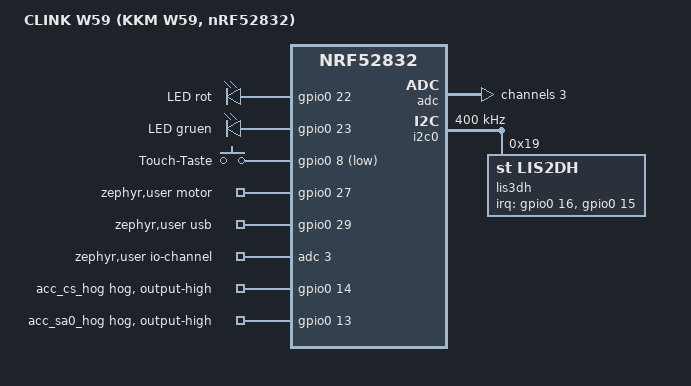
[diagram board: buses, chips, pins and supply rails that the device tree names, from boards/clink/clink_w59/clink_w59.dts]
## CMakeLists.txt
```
cmake_minimum_required(VERSION 3.20.0)

# Board-Definition des CLINK-Armbands (KKM W59) liegt in boards/
list(APPEND BOARD_ROOT ${CMAKE_CURRENT_SOURCE_DIR})

find_package(Zephyr REQUIRED HINTS $ENV{ZEPHYR_BASE})
project(clink_firmware)

target_sources(app PRIVATE
  src/main.c
  src/hw.c
  src/store.c
  src/accel.c
  src/radio.c
  src/gatt.c
  src/clink_logic.c
)
```

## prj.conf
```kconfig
# ---------- Bluetooth ----------
CONFIG_BT=y
CONFIG_BT_PERIPHERAL=y
CONFIG_BT_OBSERVER=y
CONFIG_BT_BROADCASTER=y
CONFIG_BT_MAX_CONN=1
CONFIG_BT_DEVICE_NAME="CLINK"
CONFIG_BT_DEVICE_APPEARANCE=0
# Große Pakete: 15 Begegnungen pro Lesevorgang
CONFIG_BT_L2CAP_TX_MTU=247
CONFIG_BT_BUF_ACL_TX_SIZE=251
CONFIG_BT_BUF_ACL_RX_SIZE=251
CONFIG_BT_CTLR_DATA_LENGTH_MAX=251
CONFIG_BT_USER_DATA_LEN_UPDATE=y
CONFIG_BT_GATT_CLIENT=n
CONFIG_BT_ATT_PREPARE_COUNT=0

# ---------- Bewegungssensor LIS3DH ----------
CONFIG_I2C=y
CONFIG_SENSOR=y
CONFIG_LIS2DH=y
CONFIG_LIS2DH_TRIGGER_OWN_THREAD=y
CONFIG_LIS2DH_ACCEL_RANGE_8G=y
CONFIG_LIS2DH_OPER_MODE_LOW_POWER=y
CONFIG_LIS2DH_ODR_7=y
CONFIG_LIS2DH_ACCEL_HP_FILTERS=y

# ---------- Speicher ----------
CONFIG_FLASH=y
CONFIG_FLASH_MAP=y
CONFIG_FLASH_PAGE_LAYOUT=y
CONFIG_NVS=y
CONFIG_SETTINGS=y
CONFIG_SETTINGS_NVS=y

# ---------- Akku, Zufall, Krypto ----------
CONFIG_ADC=y
CONFIG_ENTROPY_GENERATOR=y
CONFIG_TINYCRYPT=y
CONFIG_TINYCRYPT_SHA256=y
CONFIG_TINYCRYPT_SHA256_HMAC=y

# ---------- System ----------
CONFIG_MAIN_STACK_SIZE=2048
CONFIG_SYSTEM_WORKQUEUE_STACK_SIZE=2048
CONFIG_BT_RX_STACK_SIZE=2048
CONFIG_HEAP_MEM_POOL_SIZE=1024
CONFIG_REBOOT=y
CONFIG_HW_STACK_PROTECTION=y

# Kein UART im Betrieb (spart Strom). Debug-Ausgaben: siehe debug.conf
CONFIG_SERIAL=n
CONFIG_CONSOLE=n
CONFIG_UART_CONSOLE=n
CONFIG_LOG=n
```

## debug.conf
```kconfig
# Zusätzlich zu prj.conf für Test-Builds: Ausgaben über SWD (Segger RTT).
#   west build -b clink_w59 -- -DEXTRA_CONF_FILE=debug.conf
CONFIG_LOG=y
CONFIG_LOG_BACKEND_RTT=y
CONFIG_USE_SEGGER_RTT=y
CONFIG_CONSOLE=y
CONFIG_RTT_CONSOLE=y
CONFIG_ASSERT=y
```

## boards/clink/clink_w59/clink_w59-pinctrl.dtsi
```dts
/* Pinbelegung laut KKM pca10040_W59u.h und Schaltplan K59_52832 V1.3 */

&pinctrl {
	/* LIS3DH über I2C: SCL P0.11, SDA P0.12 */
	i2c0_default: i2c0_default {
		group1 {
			psels = <NRF_PSEL(TWIM_SCL, 0, 11)>,
				<NRF_PSEL(TWIM_SDA, 0, 12)>;
		};
	};

	i2c0_sleep: i2c0_sleep {
		group1 {
			psels = <NRF_PSEL(TWIM_SCL, 0, 11)>,
				<NRF_PSEL(TWIM_SDA, 0, 12)>;
			low-power-enable;
		};
	};

	/* Testpunkte TXD (P0.31) und RXD (P0.30), nur für Debug-Ausgaben */
	uart0_default: uart0_default {
		group1 {
			psels = <NRF_PSEL(UART_TX, 0, 31)>,
				<NRF_PSEL(UART_RX, 0, 30)>;
		};
	};

	uart0_sleep: uart0_sleep {
		group1 {
			psels = <NRF_PSEL(UART_TX, 0, 31)>,
				<NRF_PSEL(UART_RX, 0, 30)>;
			low-power-enable;
		};
	};
};
```

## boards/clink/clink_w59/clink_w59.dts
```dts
/*
 * CLINK-Armband: KKM W59 mit nRF52832-QFAA (512 KB Flash, 64 KB RAM).
 * Quelle: KKM pca10040_W59u.h und Schaltplan K59_52832 V1.3 (2021-02-22).
 *
 * Nicht bestückt (NC laut Schaltplan/Release-Note): SPI-Flash FM25W04, Summer.
 */

/dts-v1/;
#include <nordic/nrf52832_qfaa.dtsi>
#include "clink_w59-pinctrl.dtsi"
#include <zephyr/dt-bindings/input/input-event-codes.h>

/ {
	model = "CLINK W59 (KKM W59, nRF52832)";
	compatible = "clink,w59";

	chosen {
		zephyr,sram = &sram0;
		zephyr,flash = &flash0;
		zephyr,code-partition = &code_partition;
		zephyr,settings-partition = &settings_partition;
	};

	leds {
		compatible = "gpio-leds";
		led_red: led_0 {
			gpios = <&gpio0 22 GPIO_ACTIVE_HIGH>;
			label = "LED rot";
		};
		led_green: led_1 {
			gpios = <&gpio0 23 GPIO_ACTIVE_HIGH>;
			label = "LED gruen";
		};
	};

	buttons {
		compatible = "gpio-keys";
		touch: touch_0 {
			/* Touch-Controller TTP233D, Ausgang aktiv low */
			gpios = <&gpio0 8 (GPIO_PULL_UP | GPIO_ACTIVE_LOW)>;
			label = "Touch-Taste";
			zephyr,code = <INPUT_KEY_0>;
		};
	};

	zephyr,user {
		/* Vibrationsmotor über MOSFET AO3400 */
		motor-gpios = <&gpio0 27 GPIO_ACTIVE_HIGH>;
		/* USB-Ladekontakte erkannt (5 V über Teiler 2,2M/2,2M) */
		usb-gpios = <&gpio0 29 GPIO_ACTIVE_HIGH>;
		/* Akkuspannung über Teiler 2,2M/2,2M an AIN3 (P0.05) */
		io-channels = <&adc 3>;
	};

	aliases {
		led0 = &led_green;
		led1 = &led_red;
		sw0 = &touch;
		accel0 = &lis3dh;
		watchdog0 = &wdt0;
	};
};

&reg {
	regulator-initial-mode = <NRF5X_REG_MODE_DCDC>;
};

&gpiote {
	status = "okay";
};

&gpio0 {
	status = "okay";

	/* LIS3DH: CS (P0.14) high = I2C-Modus, SA0 (P0.13) high = Adresse 0x19 */
	acc_cs_hog {
		gpio-hog;
		gpios = <14 GPIO_ACTIVE_HIGH>;
		output-high;
	};

	acc_sa0_hog {
		gpio-hog;
		gpios = <13 GPIO_ACTIVE_HIGH>;
		output-high;
	};
};

&adc {
	status = "okay";
	#address-cells = <1>;
	#size-cells = <0>;

	channel@3 {
		reg = <3>;
		zephyr,gain = "ADC_GAIN_1_6";
		zephyr,reference = "ADC_REF_INTERNAL";
		/* Hochohmiger Teiler (1,1 MΩ Quellwiderstand): lange Erfassungszeit */
		zephyr,acquisition-time = <ADC_ACQ_TIME(ADC_ACQ_TIME_MICROSECONDS, 40)>;
		zephyr,input-positive = <NRF_SAADC_AIN3>;
		zephyr,resolution = <12>;
		zephyr,oversampling = <4>;
	};
};

&i2c0 {
	compatible = "nordic,nrf-twim";
	status = "okay";
	clock-frequency = <I2C_BITRATE_FAST>;
	pinctrl-0 = <&i2c0_default>;
	pinctrl-1 = <&i2c0_sleep>;
	pinctrl-names = "default", "sleep";

	lis3dh: lis3dh@19 {
		compatible = "st,lis2dh";
		reg = <0x19>;
		/* INT1 = P0.16, INT2 = P0.15 */
		irq-gpios = <&gpio0 16 GPIO_ACTIVE_HIGH>, <&gpio0 15 GPIO_ACTIVE_HIGH>;
		disconnect-sdo-sa0-pull-up;
	};
};

&uart0 {
	compatible = "nordic,nrf-uarte";
	status = "disabled";
	current-speed = <115200>;
	pinctrl-0 = <&uart0_default>;
	pinctrl-1 = <&uart0_sleep>;
	pinctrl-names = "default", "sleep";
};

&flash0 {
	partitions {
		compatible = "fixed-partitions";
		#address-cells = <1>;
		#size-cells = <1>;

		/*
		 * Pilot: Firmware ab Adresse 0, ohne Bootloader (Flashen per SWD).
		 * Für Updates per Bluetooth (MCUboot) wird code_partition später
		 * in mcuboot + image-0 + image-1 aufgeteilt; settings und log bleiben.
		 */
		code_partition: partition@0 {
			label = "code";
			reg = <0x00000000 0x0007a000>;
		};

		settings_partition: partition@7a000 {
			label = "settings";
			reg = <0x0007a000 0x00002000>;
		};

		/* Begegnungen: 16 KB = 1024 Einträge à 16 Byte */
		log_partition: partition@7c000 {
			label = "encounters";
			reg = <0x0007c000 0x00004000>;
		};
	};
};
```

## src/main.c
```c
/*
 * CLINK-Armband – Firmware für den KKM W59 (nRF52832).
 *
 * Ablauf:
 *   Tanzfläche: Stoß spüren → per Bluetooth melden und zuhören → passt ein
 *   gleichzeitiger Stoß eines nahen Bandes, Begegnung speichern und vibrieren.
 *   Ladekontakte: keine Begegnungen, Band wartet aufs Auslesen.
 */
#include <zephyr/kernel.h>
#include <zephyr/bluetooth/bluetooth.h>
#include <zephyr/logging/log.h>

#include "accel.h"
#include "clink_logic.h"
#include "gatt.h"
#include "hw.h"
#include "radio.h"
#include "store.h"
#include "version.h"

LOG_MODULE_REGISTER(main, LOG_LEVEL_INF);

#define LOW_BATT_PCT 15

static struct cl_state logic;
static K_MUTEX_DEFINE(logic_lock);
static bool charging;
static bool connected;

/* ---------- Begegnungen speichern (außerhalb des Bluetooth-Threads) ---------- */

struct encounter {
	uint32_t peer;
	uint8_t kind;
	int8_t rssi;
	int64_t at_ms;
};

K_MSGQ_DEFINE(encounter_q, sizeof(struct encounter), 16, 4);

static void save_work_fn(struct k_work *w)
{
	struct encounter e;

	ARG_UNUSED(w);
	while (k_msgq_get(&encounter_q, &e, K_NO_WAIT) == 0) {
		struct clink_record r = {
			.peer_id = e.peer,
			.t_s = (uint32_t)(e.at_ms / 1000),
			.boot = store_cfg()->boot,
			.kind = e.kind,
			.rssi = e.rssi,
			.mark = CLINK_RECORD_MARK,
		};
		int err = store_log_append(&r);

		LOG_INF("Begegnung mit %u (%s, %d dBm)%s", e.peer, e.kind == CLINK_KIND_CLINK ? "Clink" : "Tanz",
			e.rssi, err ? " – NICHT gespeichert" : "");
		hw_signal(HW_CLINK);
	}
}
static K_WORK_DEFINE(save_work, save_work_fn);

/* Aufruf aus der Logik, Mutex ist gehalten. */
static void on_encounter(uint32_t peer, uint8_t kind, int8_t rssi, void *user)
{
	struct encounter e = {.peer = peer, .kind = kind, .rssi = rssi, .at_ms = k_uptime_get()};

	ARG_UNUSED(user);
	if (k_msgq_put(&encounter_q, &e, K_NO_WAIT) == 0) {
		k_work_submit(&save_work);
	}
}

/* ---------- Ereignisse ---------- */

static void on_shock(int64_t at_ms)
{
	if (charging || !store_provisioned()) {
		return;
	}
	k_mutex_lock(&logic_lock, K_FOREVER);
	cl_on_own_shock(&logic, at_ms);
	k_mutex_unlock(&logic_lock);
	radio_shock(at_ms);
}

static void on_adv(int64_t now_ms, const struct clink_adv *adv, int8_t rssi)
{
	if (charging || !store_provisioned()) {
		return;
	}
	k_mutex_lock(&logic_lock, K_FOREVER);
	cl_on_adv(&logic, now_ms, adv, rssi);
	k_mutex_unlock(&logic_lock);
}

static void on_touch(void)
{
	int mv = hw_battery_mv();

	if (!store_provisioned()) {
		hw_signal(HW_NOT_READY);
	} else if (mv > 0 && hw_battery_pct(mv) < LOW_BATT_PCT) {
		hw_signal(HW_LOW_BATT);
	} else {
		hw_signal(HW_OK);
	}
}

static void apply_mode(void)
{
	accel_enable(!charging);
	if (!connected) {
		radio_set_mode(charging ? RADIO_CHARGING : RADIO_NIGHT);
	}
}

static void on_usb(bool present)
{
	charging = present;
	LOG_INF("%s", present ? "An den Ladekontakten" : "Vom Ladegerät genommen");
	apply_mode();
}

/* ---------- Auslesen ---------- */

static void on_provisioned(uint32_t band_id)
{
	k_mutex_lock(&logic_lock, K_FOREVER);
	logic.self_id = band_id;
	k_mutex_unlock(&logic_lock);
	radio_set_band_id(band_id);
	hw_signal(HW_OK);
}

static void on_params(const struct clink_params *p)
{
	k_mutex_lock(&logic_lock, K_FOREVER);
	cl_set_params(&logic, p);
	k_mutex_unlock(&logic_lock);
	accel_set_threshold(p->shock_mg);
}

static void on_cleared(void)
{
	k_mutex_lock(&logic_lock, K_FOREVER);
	cl_forget_all(&logic);
	k_mutex_unlock(&logic_lock);
	hw_signal(HW_DONE);
}

static void on_connected(void)
{
	connected = true;
}

static void on_disconnected(void)
{
	connected = false;
	radio_resume();
	apply_mode();
}

static const struct gatt_cbs gatt_callbacks = {
	.provisioned = on_provisioned,
	.params_changed = on_params,
	.cleared = on_cleared,
	.connected = on_connected,
	.disconnected = on_disconnected,
};

/* ---------- Start ---------- */

static void load_met(void)
{
	struct clink_record r;

	for (uint16_t i = 0; i < store_log_count(); i++) {
		if (store_log_read(i, &r) == 0) {
			cl_mark_met(&logic, r.peer_id);
		}
	}
}

int main(void)
{
	int err;

	LOG_INF("CLINK Firmware %d.%d.%d", FW_MAJOR, FW_MINOR, FW_PATCH);

	err = hw_init(on_touch, on_usb);
	if (err) {
		LOG_ERR("Hardware: %d", err);
	}
	err = store_init();
	if (err) {
		LOG_ERR("Speicher: %d", err);
	}

	const struct store_cfg *cfg = store_cfg();

	cl_init(&logic, cfg->band_id, &cfg->params, on_encounter, NULL);
	load_met();

	err = bt_enable(NULL);
	if (err) {
		LOG_ERR("Bluetooth: %d", err);
		hw_signal(HW_LOW_BATT);
		return 0;
	}
	gatt_init(&gatt_callbacks);
	radio_init(on_adv);
	radio_set_band_id(cfg->band_id);

	err = accel_init(on_shock);
	if (err) {
		LOG_ERR("Bewegungssensor: %d", err);
	} else {
		accel_set_threshold(cfg->params.shock_mg);
	}

	charging = hw_usb_present();
	apply_mode();
	hw_signal(store_provisioned() ? HW_BOOT : HW_NOT_READY);
	return 0;
}

/* Bei einem schweren Fehler neu starten statt stehen zu bleiben (Debug-Builds: anhalten). */
#include <zephyr/fatal.h>
#include <zephyr/sys/reboot.h>
#include <zephyr/logging/log_ctrl.h>

void k_sys_fatal_error_handler(unsigned int reason, const struct arch_esf *esf)
{
	ARG_UNUSED(esf);
#ifdef CONFIG_LOG
	LOG_PANIC();
#endif
	LOG_ERR("Schwerer Fehler %u, Neustart", reason);
#ifdef CONFIG_ASSERT
	k_fatal_halt(reason);
#else
	sys_reboot(SYS_REBOOT_COLD);
#endif
	CODE_UNREACHABLE;
}
```

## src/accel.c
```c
#include "accel.h"

#include <zephyr/kernel.h>
#include <zephyr/device.h>
#include <zephyr/drivers/sensor.h>
#include <zephyr/logging/log.h>

LOG_MODULE_REGISTER(accel, LOG_LEVEL_INF);

/* CTRL_REG2: Hochpassfilter für die Click-Erkennung, damit die Schwerkraft nicht mitzählt. */
#define LIS3DH_HPCLICK BIT(2)
/* Ein Stoß ist kurz: höchstens 10 Messwerte bei 400 Hz = 25 ms über der Schwelle. */
#define CLICK_TIME_LIMIT_SAMPLES 10

static const struct device *const acc = DEVICE_DT_GET(DT_ALIAS(accel0));
static void (*shock_cb)(int64_t uptime_ms);
static bool enabled;

static const struct sensor_trigger tap_trig = {
	.type = SENSOR_TRIG_TAP,
	.chan = SENSOR_CHAN_ACCEL_XYZ,
};

static void on_tap(const struct device *dev, const struct sensor_trigger *trig)
{
	ARG_UNUSED(dev);
	ARG_UNUSED(trig);
	if (enabled && shock_cb) {
		shock_cb(k_uptime_get());
	}
}

int accel_set_threshold(uint16_t shock_mg)
{
	struct sensor_value th;

	/* Schwelle in m/s² (1 g = 9,80665 m/s²) */
	sensor_g_to_ms2((int32_t)shock_mg * 1000, &th);
	return sensor_attr_set(acc, SENSOR_CHAN_ACCEL_XYZ, SENSOR_ATTR_SLOPE_TH, &th);
}

void accel_enable(bool on)
{
	enabled = on;
}

int accel_init(void (*on_shock)(int64_t uptime_ms))
{
	struct sensor_value v;
	int err;

	shock_cb = on_shock;
	if (!device_is_ready(acc)) {
		LOG_ERR("LIS3DH nicht bereit");
		return -ENODEV;
	}

	v.val1 = LIS3DH_HPCLICK;
	v.val2 = 0;
	err = sensor_attr_set(acc, SENSOR_CHAN_ACCEL_XYZ, SENSOR_ATTR_CONFIGURATION, &v);
	if (err) {
		LOG_WRN("Hochpassfilter: %d", err);
	}

	v.val1 = CLICK_TIME_LIMIT_SAMPLES;
	v.val2 = 0;
	err = sensor_attr_set(acc, SENSOR_CHAN_ACCEL_XYZ, SENSOR_ATTR_SLOPE_DUR, &v);
	if (err) {
		LOG_WRN("Click-Dauer: %d", err);
	}

	err = sensor_trigger_set(acc, &tap_trig, on_tap);
	if (err) {
		LOG_ERR("Click-Interrupt: %d", err);
		return err;
	}
	enabled = true;
	return 0;
}
```

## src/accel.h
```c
/* Stoßerkennung mit dem LIS3DH (Click-Interrupt im Sensor, Chip schläft dazwischen). */
#ifndef CLINK_ACCEL_H
#define CLINK_ACCEL_H

#include <stdbool.h>
#include <stdint.h>

int accel_init(void (*on_shock)(int64_t uptime_ms));
int accel_set_threshold(uint16_t shock_mg);
void accel_enable(bool on);

#endif
```

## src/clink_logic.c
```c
#include "clink_logic.h"

#include <string.h>

static int64_t abs64(int64_t v)
{
	return v < 0 ? -v : v;
}

void cl_init(struct cl_state *s, uint32_t self_id, const struct clink_params *p, cl_encounter_cb cb,
	     void *user)
{
	memset(s, 0, sizeof(*s));
	s->self_id = self_id;
	s->p = *p;
	s->cb = cb;
	s->user = user;
}

void cl_set_params(struct cl_state *s, const struct clink_params *p)
{
	s->p = *p;
	if (s->p.dance_window_s > 64) {
		s->p.dance_window_s = 64;
	}
}

bool cl_has_met(const struct cl_state *s, uint32_t peer_id)
{
	for (uint16_t i = 0; i < s->met_count; i++) {
		if (s->met[i] == peer_id) {
			return true;
		}
	}
	return false;
}

void cl_mark_met(struct cl_state *s, uint32_t peer_id)
{
	if (cl_has_met(s, peer_id) || s->met_count >= CL_MAX_MET) {
		return;
	}
	s->met[s->met_count++] = peer_id;
}

void cl_forget_all(struct cl_state *s)
{
	s->met_count = 0;
	for (int i = 0; i < CL_MAX_PEERS; i++) {
		s->peers[i].dance_mask = 0;
	}
}

static void report(struct cl_state *s, uint32_t peer_id, uint8_t kind, int8_t rssi)
{
	/* Pro Paar nur einmal speichern und nur beim ersten Mal vibrieren. */
	if (cl_has_met(s, peer_id) || s->met_count >= CL_MAX_MET) {
		return;
	}
	cl_mark_met(s, peer_id);
	if (s->cb) {
		s->cb(peer_id, kind, rssi, s->user);
	}
}

/* Gibt den Eintrag für peer_id zurück oder ersetzt den am längsten nicht gesehenen. */
static struct cl_peer *peer_slot(struct cl_state *s, uint32_t peer_id)
{
	struct cl_peer *oldest = &s->peers[0];

	for (int i = 0; i < CL_MAX_PEERS; i++) {
		struct cl_peer *p = &s->peers[i];

		if (p->id == peer_id) {
			return p;
		}
		if (p->last_seen_ms < oldest->last_seen_ms) {
			oldest = p;
		}
	}
	memset(oldest, 0, sizeof(*oldest));
	oldest->id = peer_id;
	return oldest;
}

static bool shocks_match(const struct cl_state *s, int64_t own_ms, const struct cl_peer *p)
{
	if (own_ms == 0 || p->shock_ms == 0) {
		return false;
	}
	if (abs64(p->shock_ms - own_ms) > (int64_t)s->p.window_ms + CL_ADV_JITTER_MS) {
		return false;
	}
	return p->shock_rssi >= s->p.clink_rssi;
}

void cl_on_own_shock(struct cl_state *s, int64_t now_ms)
{
	s->own_shock_ms = now_ms;

	/* Das andere Band kann seinen Stoß schon vor unserem gemeldet haben. */
	for (int i = 0; i < CL_MAX_PEERS; i++) {
		struct cl_peer *p = &s->peers[i];

		if (p->id != 0 && now_ms - p->shock_ms <= CL_SHOCK_MEMORY_MS && shocks_match(s, now_ms, p)) {
			report(s, p->id, CLINK_KIND_CLINK, p->shock_rssi);
		}
	}
}

static void on_dance_sample(struct cl_state *s, struct cl_peer *p, int64_t now_ms, int8_t rssi)
{
	if (!s->p.dance_enabled || s->p.dance_samples == 0 || s->p.dance_window_s == 0) {
		return;
	}

	int64_t sec = now_ms / 1000;
	int64_t shift = sec - p->dance_sec;

	if (shift >= 64 || shift < 0) {
		p->dance_mask = 0;
	} else if (shift > 0) {
		p->dance_mask <<= shift;
	}
	p->dance_sec = sec;

	if (rssi < s->p.dance_rssi) {
		return;
	}
	p->dance_mask |= 1;

	uint64_t window = s->p.dance_window_s >= 64 ? UINT64_MAX : ((1ULL << s->p.dance_window_s) - 1);

	if (__builtin_popcountll(p->dance_mask & window) >= s->p.dance_samples) {
		report(s, p->id, CLINK_KIND_DANCE, rssi);
	}
}

void cl_on_adv(struct cl_state *s, int64_t now_ms, const struct clink_adv *adv, int8_t rssi)
{
	if (adv->magic[0] != CLINK_MAGIC0 || adv->magic[1] != CLINK_MAGIC1 ||
	    adv->version != CLINK_PROTO_VERSION || adv->band_id == 0 || adv->band_id == s->self_id) {
		return;
	}
	/* Bänder an der Ladestation zählen nicht. */
	if (adv->flags & CLINK_ADV_FLAG_CHARGING) {
		return;
	}

	struct cl_peer *p = peer_slot(s, adv->band_id);

	p->last_seen_ms = now_ms;

	if ((adv->flags & CLINK_ADV_FLAG_SHOCK) && adv->shock_age_ms != CLINK_NO_SHOCK) {
		int64_t shock_ms = now_ms - adv->shock_age_ms;

		/* Neuer Stoß (neue Nummer oder alter Stoß längst vorbei): Höchstwert neu messen. */
		if (adv->shock_seq != p->shock_seq || p->shock_ms == 0 ||
		    abs64(shock_ms - p->shock_ms) > CL_SHOCK_MEMORY_MS) {
			p->shock_seq = adv->shock_seq;
			p->shock_ms = shock_ms;
			p->shock_rssi = rssi;
		} else if (rssi > p->shock_rssi) {
			p->shock_rssi = rssi;
		}

		if (shocks_match(s, s->own_shock_ms, p)) {
			report(s, p->id, CLINK_KIND_CLINK, p->shock_rssi);
		}
	}

	on_dance_sample(s, p, now_ms, rssi);
}
```

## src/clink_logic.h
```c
/*
 * Erkennungslogik ohne Hardware-Abhängigkeit (auf dem PC testbar, siehe test/).
 *
 * Anstoßen: Beide Bänder spüren einen Stoß, senden das sofort per Bluetooth
 * und hören gleichzeitig zu. Eine Begegnung zählt, wenn
 *   1. beide Stöße höchstens window_ms auseinander liegen und
 *   2. das andere Band dabei sehr nah war (RSSI >= clink_rssi).
 * Paartanz: Das andere Band war in dance_samples der letzten dance_window_s
 * Sekunden sehr nah (RSSI >= dance_rssi).
 * Pro Paar wird nur die erste Begegnung gemeldet.
 */
#ifndef CLINK_LOGIC_H
#define CLINK_LOGIC_H

#include <stdbool.h>
#include <stdint.h>
#include "proto.h"

#define CL_MAX_PEERS 32  /* gleichzeitig verfolgte Bänder in Reichweite */
#define CL_MAX_MET 512   /* gemerkte Begegnungen pro Abend */
#define CL_SHOCK_MEMORY_MS 1000
#define CL_ADV_JITTER_MS 25 /* Ungenauigkeit des Alters durch das Sendeintervall */

typedef void (*cl_encounter_cb)(uint32_t peer_id, uint8_t kind, int8_t rssi, void *user);

struct cl_peer {
	uint32_t id;
	int64_t last_seen_ms;
	/* Stoß des Gegenübers */
	int64_t shock_ms; /* geschätzter Zeitpunkt, 0 = keiner */
	uint8_t shock_seq;
	int8_t shock_rssi;
	/* Paartanz: Bit i = Nähe in Sekunde (dance_sec - i) */
	uint64_t dance_mask;
	int64_t dance_sec;
};

struct cl_state {
	struct clink_params p;
	uint32_t self_id;
	int64_t own_shock_ms; /* 0 = keiner */
	struct cl_peer peers[CL_MAX_PEERS];
	uint32_t met[CL_MAX_MET];
	uint16_t met_count;
	cl_encounter_cb cb;
	void *user;
};

void cl_init(struct cl_state *s, uint32_t self_id, const struct clink_params *p, cl_encounter_cb cb,
	     void *user);
void cl_set_params(struct cl_state *s, const struct clink_params *p);

/* Bereits gespeicherte Begegnungen beim Start einlesen bzw. nach dem Auslesen vergessen. */
void cl_mark_met(struct cl_state *s, uint32_t peer_id);
bool cl_has_met(const struct cl_state *s, uint32_t peer_id);
void cl_forget_all(struct cl_state *s);

/* Eigener Stoß zum Zeitpunkt now_ms (Uptime). */
void cl_on_own_shock(struct cl_state *s, int64_t now_ms);

/* Advertising eines anderen Bandes empfangen. */
void cl_on_adv(struct cl_state *s, int64_t now_ms, const struct clink_adv *adv, int8_t rssi);

#endif /* CLINK_LOGIC_H */
```

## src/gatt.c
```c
#include "gatt.h"

#include <string.h>
#include <zephyr/kernel.h>
#include <zephyr/bluetooth/bluetooth.h>
#include <zephyr/bluetooth/conn.h>
#include <zephyr/bluetooth/gatt.h>
#include <zephyr/bluetooth/uuid.h>
#include <zephyr/logging/log.h>
#include <zephyr/random/random.h>
#include <zephyr/sys/byteorder.h>
#include <tinycrypt/constants.h>
#include <tinycrypt/hmac.h>
#include <tinycrypt/utils.h>

#include "hw.h"
#include "store.h"
#include "version.h"

LOG_MODULE_REGISTER(gatt, LOG_LEVEL_INF);

/* Wer sich nicht innerhalb dieser Zeit anmeldet, wird getrennt (sonst blockiert er das Band). */
#define AUTH_TIMEOUT_S 20

static const struct gatt_cbs *cbs;
static struct bt_conn *current;
static uint8_t nonce[16];
static bool authed;
static uint16_t cursor;

static void auth_timeout_fn(struct k_work *w)
{
	ARG_UNUSED(w);
	if (current && !authed) {
		LOG_INF("Keine Anmeldung, trenne");
		bt_conn_disconnect(current, BT_HCI_ERR_REMOTE_USER_TERM_CONN);
	}
}
static K_WORK_DELAYABLE_DEFINE(auth_timeout, auth_timeout_fn);

/* ---------- Anmeldung: HMAC-SHA256(key, "CLINK-AUTH" | nonce | band_id) ---------- */

static bool check_auth(const uint8_t *mac, size_t len)
{
	const struct store_cfg *c = store_cfg();
	struct tc_hmac_state_struct h;
	uint8_t expected[TC_SHA256_DIGEST_SIZE];
	uint8_t id_le[4];

	if (len != sizeof(expected) || !store_provisioned()) {
		return false;
	}
	sys_put_le32(c->band_id, id_le);
	if (tc_hmac_set_key(&h, c->key, sizeof(c->key)) != TC_CRYPTO_SUCCESS ||
	    tc_hmac_init(&h) != TC_CRYPTO_SUCCESS ||
	    tc_hmac_update(&h, CLINK_AUTH_LABEL, strlen(CLINK_AUTH_LABEL)) != TC_CRYPTO_SUCCESS ||
	    tc_hmac_update(&h, nonce, sizeof(nonce)) != TC_CRYPTO_SUCCESS ||
	    tc_hmac_update(&h, id_le, sizeof(id_le)) != TC_CRYPTO_SUCCESS ||
	    tc_hmac_final(expected, sizeof(expected), &h) != TC_CRYPTO_SUCCESS) {
		return false;
	}
	return _compare(expected, mac, sizeof(expected)) == 0;
}

/* ---------- Characteristics ---------- */

static ssize_t read_info(struct bt_conn *conn, const struct bt_gatt_attr *attr, void *buf, uint16_t len,
			 uint16_t offset)
{
	const struct store_cfg *c = store_cfg();
	int mv = hw_battery_mv();
	struct clink_info info = {
		.proto = CLINK_PROTO_VERSION,
		.flags = (store_provisioned() ? CLINK_INFO_FLAG_PROVISIONED : 0) |
			 (authed ? CLINK_INFO_FLAG_AUTHED : 0) |
			 (hw_usb_present() ? CLINK_INFO_FLAG_CHARGING : 0),
		.fw = {FW_MAJOR, FW_MINOR, FW_PATCH},
		.battery_pct = mv > 0 ? hw_battery_pct(mv) : 0,
		.battery_mv = sys_cpu_to_le16(mv > 0 ? mv : 0),
		.band_id = sys_cpu_to_le32(c->band_id),
		.boot = sys_cpu_to_le16(c->boot),
		.uptime_s = sys_cpu_to_le32((uint32_t)(k_uptime_get() / 1000)),
		.record_count = sys_cpu_to_le16(store_log_count()),
	};

	memcpy(info.nonce, nonce, sizeof(nonce));
	return bt_gatt_attr_read(conn, attr, buf, len, offset, &info, sizeof(info));
}

static ssize_t read_params(struct bt_conn *conn, const struct bt_gatt_attr *attr, void *buf, uint16_t len,
			   uint16_t offset)
{
	struct clink_params p = store_cfg()->params;

	p.shock_mg = sys_cpu_to_le16(p.shock_mg);
	p.window_ms = sys_cpu_to_le16(p.window_ms);
	return bt_gatt_attr_read(conn, attr, buf, len, offset, &p, sizeof(p));
}

static ssize_t read_records(struct bt_conn *conn, const struct bt_gatt_attr *attr, void *buf,
			    uint16_t len, uint16_t offset)
{
	struct clink_record recs[CLINK_RECORDS_PER_READ];
	size_t n = 0;

	if (!authed) {
		return BT_GATT_ERR(BT_ATT_ERR_AUTHORIZATION);
	}
	/*
	 * Unvollständige Einträge werden mit peer_id 0 geliefert, damit die
	 * Position stimmt; die Website überspringt sie.
	 */
	for (uint16_t i = cursor; i < store_log_count() && n < ARRAY_SIZE(recs); i++, n++) {
		if (store_log_read(i, &recs[n]) != 0) {
			memset(&recs[n], 0, sizeof(recs[n]));
		}
	}
	return bt_gatt_attr_read(conn, attr, buf, len, offset, recs, n * sizeof(recs[0]));
}

static ssize_t write_control(struct bt_conn *conn, const struct bt_gatt_attr *attr, const void *buf,
			     uint16_t len, uint16_t offset, uint8_t flags)
{
	const uint8_t *d = buf;

	if (offset != 0 || len < 1) {
		return BT_GATT_ERR(BT_ATT_ERR_INVALID_ATTRIBUTE_LEN);
	}

	switch (d[0]) {
	case CLINK_CMD_AUTH:
		authed = check_auth(d + 1, len - 1);
		if (!authed) {
			LOG_WRN("Anmeldung fehlgeschlagen");
			return BT_GATT_ERR(BT_ATT_ERR_AUTHORIZATION);
		}
		k_work_cancel_delayable(&auth_timeout);
		return len;

	case CLINK_CMD_PROVISION: {
		/* Neues Band: ohne Anmeldung. Eingerichtetes Band: nur angemeldet (Neuvergabe). */
		if (store_provisioned() && !authed) {
			return BT_GATT_ERR(BT_ATT_ERR_AUTHORIZATION);
		}
		if (len != 1 + 4 + CLINK_KEY_LEN) {
			return BT_GATT_ERR(BT_ATT_ERR_INVALID_ATTRIBUTE_LEN);
		}
		uint32_t id = sys_get_le32(d + 1);

		if (id == 0 || store_provision(id, d + 5)) {
			return BT_GATT_ERR(BT_ATT_ERR_UNLIKELY);
		}
		authed = true;
		k_work_cancel_delayable(&auth_timeout);
		if (cbs && cbs->provisioned) {
			cbs->provisioned(id);
		}
		return len;
	}
	}

	/* Alle weiteren Befehle nur nach Anmeldung. */
	if (!authed) {
		return BT_GATT_ERR(BT_ATT_ERR_AUTHORIZATION);
	}

	switch (d[0]) {
	case CLINK_CMD_CURSOR:
		if (len != 3) {
			return BT_GATT_ERR(BT_ATT_ERR_INVALID_ATTRIBUTE_LEN);
		}
		cursor = sys_get_le16(d + 1);
		return len;

	case CLINK_CMD_CLEAR:
		/* Nur löschen, was die Website auch gelesen hat. */
		if (len != 3 || sys_get_le16(d + 1) != store_log_count()) {
			return BT_GATT_ERR(BT_ATT_ERR_VALUE_NOT_ALLOWED);
		}
		if (store_log_clear()) {
			return BT_GATT_ERR(BT_ATT_ERR_UNLIKELY);
		}
		cursor = 0;
		if (cbs && cbs->cleared) {
			cbs->cleared();
		}
		return len;

	case CLINK_CMD_PARAMS: {
		struct clink_params p;

		if (len != 1 + sizeof(p)) {
			return BT_GATT_ERR(BT_ATT_ERR_INVALID_ATTRIBUTE_LEN);
		}
		memcpy(&p, d + 1, sizeof(p));
		p.shock_mg = sys_le16_to_cpu(p.shock_mg);
		p.window_ms = sys_le16_to_cpu(p.window_ms);
		if (p.shock_mg < 100 || p.shock_mg > 16000 || p.window_ms < 10 || p.window_ms > 2000 ||
		    p.dance_window_s > 64 || p.dance_samples > p.dance_window_s) {
			return BT_GATT_ERR(BT_ATT_ERR_VALUE_NOT_ALLOWED);
		}
		if (store_set_params(&p)) {
			return BT_GATT_ERR(BT_ATT_ERR_UNLIKELY);
		}
		if (cbs && cbs->params_changed) {
			cbs->params_changed(&p);
		}
		return len;
	}

	case CLINK_CMD_BUZZ:
		hw_signal(HW_BUZZ);
		return len;
	}

	return BT_GATT_ERR(BT_ATT_ERR_NOT_SUPPORTED);
}

BT_GATT_SERVICE_DEFINE(clink_svc,
	BT_GATT_PRIMARY_SERVICE(BT_UUID_DECLARE_128(CLINK_UUID_SERVICE)),
	BT_GATT_CHARACTERISTIC(BT_UUID_DECLARE_128(CLINK_UUID_INFO), BT_GATT_CHRC_READ,
			       BT_GATT_PERM_READ, read_info, NULL, NULL),
	BT_GATT_CHARACTERISTIC(BT_UUID_DECLARE_128(CLINK_UUID_CONTROL), BT_GATT_CHRC_WRITE,
			       BT_GATT_PERM_WRITE, NULL, write_control, NULL),
	BT_GATT_CHARACTERISTIC(BT_UUID_DECLARE_128(CLINK_UUID_RECORDS), BT_GATT_CHRC_READ,
			       BT_GATT_PERM_READ, read_records, NULL, NULL),
	BT_GATT_CHARACTERISTIC(BT_UUID_DECLARE_128(CLINK_UUID_PARAMS), BT_GATT_CHRC_READ,
			       BT_GATT_PERM_READ, read_params, NULL, NULL),
);

/* ---------- Verbindung ---------- */

static void on_connected(struct bt_conn *conn, uint8_t err)
{
	if (err) {
		return;
	}
	if (current) {
		bt_conn_disconnect(conn, BT_HCI_ERR_CONN_LIMIT_EXCEEDED);
		return;
	}
	current = bt_conn_ref(conn);
	authed = false;
	cursor = 0;
	sys_csrand_get(nonce, sizeof(nonce));
	k_work_reschedule(&auth_timeout, K_SECONDS(AUTH_TIMEOUT_S));
	if (cbs && cbs->connected) {
		cbs->connected();
	}
}

static void on_disconnected(struct bt_conn *conn, uint8_t reason)
{
	if (conn != current) {
		return;
	}
	bt_conn_unref(current);
	current = NULL;
	authed = false;
	k_work_cancel_delayable(&auth_timeout);
	if (cbs && cbs->disconnected) {
		cbs->disconnected();
	}
}

BT_CONN_CB_DEFINE(conn_cbs) = {
	.connected = on_connected,
	.disconnected = on_disconnected,
};

int gatt_init(const struct gatt_cbs *c)
{
	cbs = c;
	return 0;
}
```

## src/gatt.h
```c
/* Auslesen am Ausgang: GATT-Dienst für die Admin-Seite (Web Bluetooth). */
#ifndef CLINK_GATT_H
#define CLINK_GATT_H

#include <stdint.h>
#include "proto.h"

struct gatt_cbs {
	void (*provisioned)(uint32_t band_id);
	void (*params_changed)(const struct clink_params *p);
	void (*cleared)(void);
	void (*connected)(void);
	void (*disconnected)(void);
};

int gatt_init(const struct gatt_cbs *cbs);

#endif
```

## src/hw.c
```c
#include "hw.h"

#include <zephyr/kernel.h>
#include <zephyr/device.h>
#include <zephyr/drivers/adc.h>
#include <zephyr/drivers/gpio.h>
#include <zephyr/logging/log.h>

LOG_MODULE_REGISTER(hw, LOG_LEVEL_INF);

#define USER_NODE DT_PATH(zephyr_user)

static const struct gpio_dt_spec led_green = GPIO_DT_SPEC_GET(DT_ALIAS(led0), gpios);
static const struct gpio_dt_spec led_red = GPIO_DT_SPEC_GET(DT_ALIAS(led1), gpios);
static const struct gpio_dt_spec touch = GPIO_DT_SPEC_GET(DT_ALIAS(sw0), gpios);
static const struct gpio_dt_spec motor = GPIO_DT_SPEC_GET(USER_NODE, motor_gpios);
static const struct gpio_dt_spec usb = GPIO_DT_SPEC_GET(USER_NODE, usb_gpios);
static const struct adc_dt_spec batt = ADC_DT_SPEC_GET(USER_NODE);

/* Laut KKM: Li-Ion 3,3 V (leer) bis 4,1 V (voll), Teiler 1:2 vor dem ADC */
#define BATT_MIN_MV 3300
#define BATT_MAX_MV 4100

static void (*touch_cb)(void);
static void (*usb_cb)(bool present);
static struct gpio_callback touch_gpio_cb;
static struct gpio_callback usb_gpio_cb;

/* ---------- Signalmuster ---------- */

struct step {
	uint8_t motor : 1;
	uint8_t green : 1;
	uint8_t red : 1;
	uint16_t ms;
};

#define S(m, g, r, t) {.motor = (m), .green = (g), .red = (r), .ms = (t)}

static const struct step p_boot[] = {S(0, 1, 1, 300), S(0, 0, 0, 0)};
static const struct step p_clink[] = {S(1, 1, 0, 150), S(0, 1, 0, 100), S(1, 1, 0, 150), S(0, 1, 0, 400),
				      S(0, 0, 0, 0)};
static const struct step p_ok[] = {S(0, 1, 0, 200), S(0, 0, 0, 150), S(0, 1, 0, 200), S(0, 0, 0, 0)};
static const struct step p_low[] = {S(0, 0, 1, 200), S(0, 0, 0, 150), S(0, 0, 1, 200), S(0, 0, 0, 150),
				    S(0, 0, 1, 200), S(0, 0, 0, 0)};
static const struct step p_not_ready[] = {S(0, 0, 1, 200), S(0, 1, 0, 200), S(0, 0, 1, 200),
					  S(0, 1, 0, 200), S(0, 0, 0, 0)};
static const struct step p_buzz[] = {S(1, 1, 1, 200), S(0, 0, 0, 150), S(1, 1, 1, 200), S(0, 0, 0, 150),
				     S(1, 1, 1, 200), S(0, 0, 0, 0)};
static const struct step p_done[] = {S(0, 1, 0, 1500), S(0, 0, 0, 0)};

static const struct step *const patterns[] = {
	[HW_BOOT] = p_boot,   [HW_CLINK] = p_clink,         [HW_OK] = p_ok,     [HW_LOW_BATT] = p_low,
	[HW_NOT_READY] = p_not_ready, [HW_BUZZ] = p_buzz, [HW_DONE] = p_done,
};

static const struct step *cur;
static void pattern_work_fn(struct k_work *w);
static K_WORK_DELAYABLE_DEFINE(pattern_work, pattern_work_fn);

static void apply(const struct step *s)
{
	gpio_pin_set_dt(&motor, s->motor);
	gpio_pin_set_dt(&led_green, s->green);
	gpio_pin_set_dt(&led_red, s->red);
}

static void pattern_work_fn(struct k_work *w)
{
	ARG_UNUSED(w);
	if (!cur) {
		return;
	}
	apply(cur);
	if (cur->ms == 0) {
		cur = NULL;
		return;
	}
	k_work_reschedule(&pattern_work, K_MSEC(cur->ms));
	cur++;
}

void hw_signal(enum hw_pattern p)
{
	if (p >= ARRAY_SIZE(patterns)) {
		return;
	}
	cur = patterns[p];
	k_work_reschedule(&pattern_work, K_NO_WAIT);
}

/* ---------- Taste und Ladekontakte ---------- */

static void touch_debounced(struct k_work *w)
{
	ARG_UNUSED(w);
	if (gpio_pin_get_dt(&touch) == 1 && touch_cb) {
		touch_cb();
	}
}
static K_WORK_DELAYABLE_DEFINE(touch_work, touch_debounced);

static void usb_debounced(struct k_work *w)
{
	ARG_UNUSED(w);
	if (usb_cb) {
		usb_cb(hw_usb_present());
	}
}
static K_WORK_DELAYABLE_DEFINE(usb_work, usb_debounced);

static void touch_isr(const struct device *dev, struct gpio_callback *cb, uint32_t pins)
{
	k_work_reschedule(&touch_work, K_MSEC(40));
}

static void usb_isr(const struct device *dev, struct gpio_callback *cb, uint32_t pins)
{
	k_work_reschedule(&usb_work, K_MSEC(300));
}

bool hw_usb_present(void)
{
	return gpio_pin_get_dt(&usb) == 1;
}

/* ---------- Akku ---------- */

int hw_battery_mv(void)
{
	int16_t raw = 0;
	struct adc_sequence seq = {
		.buffer = &raw,
		.buffer_size = sizeof(raw),
	};
	int err = adc_sequence_init_dt(&batt, &seq);

	if (!err) {
		err = adc_read_dt(&batt, &seq);
	}
	if (err) {
		LOG_WRN("Akku lesen fehlgeschlagen: %d", err);
		return -1;
	}
	int32_t mv = raw;

	adc_raw_to_millivolts_dt(&batt, &mv);
	return (int)mv * 2; /* Spannungsteiler 2,2 MΩ / 2,2 MΩ */
}

uint8_t hw_battery_pct(int mv)
{
	if (mv <= BATT_MIN_MV) {
		return 0;
	}
	if (mv >= BATT_MAX_MV) {
		return 100;
	}
	return (uint8_t)((mv - BATT_MIN_MV) * 100 / (BATT_MAX_MV - BATT_MIN_MV));
}

/* ---------- Start ---------- */

int hw_init(void (*on_touch)(void), void (*on_usb)(bool present))
{
	const struct gpio_dt_spec *outs[] = {&led_green, &led_red, &motor};

	touch_cb = on_touch;
	usb_cb = on_usb;

	for (size_t i = 0; i < ARRAY_SIZE(outs); i++) {
		if (!gpio_is_ready_dt(outs[i]) || gpio_pin_configure_dt(outs[i], GPIO_OUTPUT_INACTIVE)) {
			return -ENODEV;
		}
	}

	if (gpio_pin_configure_dt(&touch, GPIO_INPUT) ||
	    gpio_pin_interrupt_configure_dt(&touch, GPIO_INT_EDGE_TO_ACTIVE)) {
		return -ENODEV;
	}
	gpio_init_callback(&touch_gpio_cb, touch_isr, BIT(touch.pin));
	gpio_add_callback_dt(&touch, &touch_gpio_cb);

	if (gpio_pin_configure_dt(&usb, GPIO_INPUT) ||
	    gpio_pin_interrupt_configure_dt(&usb, GPIO_INT_EDGE_BOTH)) {
		return -ENODEV;
	}
	gpio_init_callback(&usb_gpio_cb, usb_isr, BIT(usb.pin));
	gpio_add_callback_dt(&usb, &usb_gpio_cb);

	if (!adc_is_ready_dt(&batt) || adc_channel_setup_dt(&batt)) {
		return -ENODEV;
	}
	return 0;
}
```

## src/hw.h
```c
/* LEDs, Vibrationsmotor, Touch-Taste, Akku und Ladekontakte des W59. */
#ifndef CLINK_HW_H
#define CLINK_HW_H

#include <stdbool.h>
#include <stdint.h>

enum hw_pattern {
	HW_BOOT,       /* kurz grün + rot: Band ist gestartet */
	HW_CLINK,      /* zweimal vibrieren + grün: neue Begegnung */
	HW_OK,         /* grün blinken: alles in Ordnung (Touch) */
	HW_LOW_BATT,   /* rot blinken: Akku fast leer */
	HW_NOT_READY,  /* rot-grün im Wechsel: noch nicht eingerichtet */
	HW_BUZZ,       /* dreimal vibrieren + blinken: "dieses Band" beim Auslesen */
	HW_DONE,       /* langes grün: ausgelesen und gelöscht */
};

int hw_init(void (*on_touch)(void), void (*on_usb)(bool present));
void hw_signal(enum hw_pattern p);
bool hw_usb_present(void);
int hw_battery_mv(void);
uint8_t hw_battery_pct(int mv);

#endif
```

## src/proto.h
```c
/*
 * CLINK – gemeinsame Formate von Firmware und Website.
 * Ausführlich beschrieben in firmware/PROTOCOL.md. Bei Änderungen
 * CLINK_PROTO_VERSION erhöhen und app/admin/auslesen anpassen.
 */
#ifndef CLINK_PROTO_H
#define CLINK_PROTO_H

#include <stdint.h>

#define CLINK_PROTO_VERSION 1

/* ---------- Advertising (Bänder untereinander) ---------- */

/* Manufacturer Specific Data, Company ID 0xFFFF = "keine Firma" (nur für Tests/Prototypen) */
#define CLINK_COMPANY_ID 0xFFFF
#define CLINK_MAGIC0 'C'
#define CLINK_MAGIC1 'L'

#define CLINK_ADV_FLAG_SHOCK 0x01    /* Band hat gerade einen Stoß gespürt */
#define CLINK_ADV_FLAG_CHARGING 0x02 /* Band liegt an den Ladekontakten */

#define CLINK_NO_SHOCK 0xFFFF

struct __attribute__((packed)) clink_adv {
	uint16_t company;      /* CLINK_COMPANY_ID, little endian */
	uint8_t magic[2];      /* 'C' 'L' */
	uint8_t version;       /* CLINK_PROTO_VERSION */
	uint8_t flags;         /* CLINK_ADV_FLAG_* */
	uint32_t band_id;      /* Geräte-ID vom Aufkleber, z. B. 778775 */
	uint16_t shock_age_ms; /* ms seit dem eigenen Stoß, CLINK_NO_SHOCK wenn keiner */
	uint8_t shock_seq;     /* zählt pro Stoß hoch */
};

/* ---------- Gespeicherte Begegnung (Flash, 16 Byte) ---------- */

#define CLINK_KIND_CLINK 1 /* Handgelenke angestoßen */
#define CLINK_KIND_DANCE 2 /* lange sehr nah, z. B. Paartanz */

#define CLINK_RECORD_MARK 0x31424C43u /* "CLB1": Eintrag vollständig geschrieben */

struct __attribute__((packed)) clink_record {
	uint32_t peer_id; /* Band-ID des Gegenübers */
	uint32_t t_s;     /* Sekunden seit Start (siehe boot) */
	uint16_t boot;    /* Startzähler, um Zeitstempel nach Neustart einzuordnen */
	uint8_t kind;     /* CLINK_KIND_* */
	int8_t rssi;      /* Signalstärke in dBm */
	uint32_t mark;    /* CLINK_RECORD_MARK */
};

/* ---------- Einstellungen ---------- */

struct __attribute__((packed)) clink_params {
	uint16_t shock_mg;     /* Stoß-Schwelle in mg, z. B. 2500 = 2,5 g */
	int8_t clink_rssi;     /* Mindest-Signalstärke beim Anstoßen, z. B. -45 dBm */
	uint8_t reserved0;
	uint16_t window_ms;    /* beide Stöße höchstens so weit auseinander, z. B. 100 ms */
	uint8_t dance_enabled; /* Paartanz verbindet automatisch (1) oder nicht (0) */
	int8_t dance_rssi;     /* Mindest-Signalstärke für "sehr nah", z. B. -55 dBm */
	uint8_t dance_samples; /* so viele Sekunden mit Nähe ... */
	uint8_t dance_window_s; /* ... innerhalb dieses Fensters (max. 64 s) */
	uint8_t reserved1[2];
};

#define CLINK_PARAMS_DEFAULT                                                               \
	{                                                                                  \
		.shock_mg = 2500, .clink_rssi = -45, .window_ms = 100, .dance_enabled = 1, \
		.dance_rssi = -55, .dance_samples = 25, .dance_window_s = 60,              \
	}

/* ---------- GATT (Auslesen am Ausgang per Web Bluetooth) ---------- */

/* Basis-UUID 7a3e0000-5c1e-4c1a-9c1b-c11c00b0c11c, die 16-Bit-Stelle variiert */
#define CLINK_UUID(x) BT_UUID_128_ENCODE(0x7a3e0000 + (x), 0x5c1e, 0x4c1a, 0x9c1b, 0xc11c00b0c11c)
#define CLINK_UUID_SERVICE CLINK_UUID(0x0001)
#define CLINK_UUID_INFO CLINK_UUID(0x0002)    /* read: struct clink_info */
#define CLINK_UUID_CONTROL CLINK_UUID(0x0003) /* write: Befehl, siehe CLINK_CMD_* */
#define CLINK_UUID_RECORDS CLINK_UUID(0x0004) /* read: bis zu 15 Einträge ab Cursor */
#define CLINK_UUID_PARAMS CLINK_UUID(0x0005)  /* read: struct clink_params */

#define CLINK_RECORDS_PER_READ 15 /* 15 x 16 = 240 Byte, passt in eine MTU von 247 */

#define CLINK_INFO_FLAG_PROVISIONED 0x01
#define CLINK_INFO_FLAG_AUTHED 0x02
#define CLINK_INFO_FLAG_CHARGING 0x04

struct __attribute__((packed)) clink_info {
	uint8_t proto;          /* CLINK_PROTO_VERSION */
	uint8_t flags;          /* CLINK_INFO_FLAG_* */
	uint8_t fw[3];          /* Firmware-Version major, minor, patch */
	uint8_t battery_pct;
	uint16_t battery_mv;
	uint32_t band_id;       /* 0 = noch nicht eingerichtet */
	uint16_t boot;
	uint32_t uptime_s;
	uint16_t record_count;
	uint8_t nonce[16];      /* für die Anmeldung, neu pro Verbindung */
};

/* Befehle an CONTROL: erstes Byte = Befehl */
#define CLINK_CMD_AUTH 0x01      /* + 32 Byte HMAC-SHA256(key, "CLINK-AUTH" | nonce | band_id) */
#define CLINK_CMD_CURSOR 0x02    /* + uint16 Index: ab hier liefert RECORDS */
#define CLINK_CMD_CLEAR 0x03     /* + uint16 erwartete Anzahl: löscht alle Einträge */
#define CLINK_CMD_PARAMS 0x04    /* + struct clink_params */
#define CLINK_CMD_PROVISION 0x05 /* + uint32 band_id + 32 Byte Schlüssel */
#define CLINK_CMD_BUZZ 0x06      /* kurz vibrieren und blinken: "welches Band ist das?" */

#define CLINK_KEY_LEN 32
#define CLINK_AUTH_LABEL "CLINK-AUTH"

#endif /* CLINK_PROTO_H */
```

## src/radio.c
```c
#include "radio.h"

#include <stdio.h>
#include <string.h>
#include <zephyr/kernel.h>
#include <zephyr/bluetooth/bluetooth.h>
#include <zephyr/bluetooth/gap.h>
#include <zephyr/logging/log.h>
#include <zephyr/sys/byteorder.h>

LOG_MODULE_REGISTER(radio, LOG_LEVEL_INF);

/*
 * Normalbetrieb: alle 250 ms senden, 20 % der Zeit zuhören (Paartanz, fremde Stöße).
 * Nach einem Stoß 400 ms lang: alle 20 ms senden und durchgehend zuhören.
 * Geschätzter Verbrauch ~1,2 mA, bei 90 mAh also gut 3 Tage.
 */
#define ADV_SLOW_MS 250
#define ADV_FAST_MS 20
#define SCAN_SLOW_INTERVAL_MS 300
#define SCAN_SLOW_WINDOW_MS 60
#define SCAN_FAST_MS 30
#define SHOCK_BURST_MS 400
#define AGE_UPDATE_MS 10

#define MS_TO_ADV(ms) ((ms) * 8 / 5)  /* Einheit 0,625 ms */
#define MS_TO_SCAN(ms) ((ms) * 8 / 5) /* Einheit 0,625 ms */

static radio_adv_cb adv_cb;
static enum radio_mode mode = RADIO_OFF;
static struct clink_adv payload = {
	.magic = {CLINK_MAGIC0, CLINK_MAGIC1},
	.version = CLINK_PROTO_VERSION,
	.shock_age_ms = CLINK_NO_SHOCK,
};
static char name[20] = "CLINK";
static int64_t shock_at;
static bool burst;
static bool adv_on;
static bool scan_on;
static K_MUTEX_DEFINE(lock);

static const struct bt_data sd_template[] = {
	BT_DATA(BT_DATA_NAME_COMPLETE, name, 5),
};

/* ---------- Senden ---------- */

static void fill_payload(void)
{
	payload.company = sys_cpu_to_le16(CLINK_COMPANY_ID);
	payload.flags = 0;
	if (mode == RADIO_CHARGING) {
		payload.flags |= CLINK_ADV_FLAG_CHARGING;
	}
	if (burst) {
		int64_t age = k_uptime_get() - shock_at;

		payload.flags |= CLINK_ADV_FLAG_SHOCK;
		payload.shock_age_ms = sys_cpu_to_le16((uint16_t)MIN(age, 0xFFFE));
	} else {
		payload.shock_age_ms = sys_cpu_to_le16(CLINK_NO_SHOCK);
	}
}

static int adv_start(uint16_t interval_ms)
{
	const struct bt_data ad[] = {
		BT_DATA_BYTES(BT_DATA_FLAGS, (BT_LE_AD_GENERAL | BT_LE_AD_NO_BREDR)),
		BT_DATA(BT_DATA_MANUFACTURER_DATA, &payload, sizeof(payload)),
	};
	struct bt_data sd[] = {sd_template[0]};
	const struct bt_le_adv_param param = BT_LE_ADV_PARAM_INIT(
		BT_LE_ADV_OPT_CONN, MS_TO_ADV(interval_ms), MS_TO_ADV(interval_ms) + 8, NULL);
	int err;

	sd[0].data_len = strlen(name);
	if (adv_on) {
		bt_le_adv_stop();
		adv_on = false;
	}
	fill_payload();
	err = bt_le_adv_start(&param, ad, ARRAY_SIZE(ad), sd, ARRAY_SIZE(sd));
	if (err && err != -ENOMEM) {
		LOG_WRN("Advertising: %d", err);
	}
	adv_on = (err == 0);
	return err;
}

static void adv_update(void)
{
	const struct bt_data ad[] = {
		BT_DATA_BYTES(BT_DATA_FLAGS, (BT_LE_AD_GENERAL | BT_LE_AD_NO_BREDR)),
		BT_DATA(BT_DATA_MANUFACTURER_DATA, &payload, sizeof(payload)),
	};

	if (!adv_on) {
		return;
	}
	fill_payload();
	bt_le_adv_update_data(ad, ARRAY_SIZE(ad), NULL, 0);
}

/* ---------- Zuhören ---------- */

struct parse_ctx {
	const struct clink_adv *adv;
	struct clink_adv copy;
};

static bool parse_ad(struct bt_data *data, void *user)
{
	struct parse_ctx *ctx = user;

	if (data->type == BT_DATA_MANUFACTURER_DATA && data->data_len == sizeof(struct clink_adv)) {
		memcpy(&ctx->copy, data->data, sizeof(ctx->copy));
		if (sys_le16_to_cpu(ctx->copy.company) == CLINK_COMPANY_ID) {
			ctx->copy.band_id = sys_le32_to_cpu(ctx->copy.band_id);
			ctx->copy.shock_age_ms = sys_le16_to_cpu(ctx->copy.shock_age_ms);
			ctx->adv = &ctx->copy;
			return false;
		}
	}
	return true;
}

static void on_scan(const bt_addr_le_t *addr, int8_t rssi, uint8_t type, struct net_buf_simple *ad)
{
	struct parse_ctx ctx = {0};

	ARG_UNUSED(addr);
	if (type != BT_GAP_ADV_TYPE_ADV_IND && type != BT_GAP_ADV_TYPE_ADV_NONCONN_IND) {
		return;
	}
	bt_data_parse(ad, parse_ad, &ctx);
	if (ctx.adv && adv_cb) {
		adv_cb(k_uptime_get(), ctx.adv, rssi);
	}
}

static void scan_set(bool fast)
{
	const struct bt_le_scan_param param = {
		.type = BT_LE_SCAN_TYPE_PASSIVE,
		.options = BT_LE_SCAN_OPT_NONE,
		.interval = fast ? MS_TO_SCAN(SCAN_FAST_MS) : MS_TO_SCAN(SCAN_SLOW_INTERVAL_MS),
		.window = fast ? MS_TO_SCAN(SCAN_FAST_MS) : MS_TO_SCAN(SCAN_SLOW_WINDOW_MS),
	};
	int err;

	if (scan_on) {
		bt_le_scan_stop();
		scan_on = false;
	}
	err = bt_le_scan_start(&param, on_scan);
	if (err) {
		LOG_WRN("Scan: %d", err);
	}
	scan_on = (err == 0);
}

static void scan_off(void)
{
	if (scan_on) {
		bt_le_scan_stop();
		scan_on = false;
	}
}

/* ---------- Stoß-Burst ---------- */

static void age_work_fn(struct k_work *w);
static void burst_end_fn(struct k_work *w);
static K_WORK_DELAYABLE_DEFINE(age_work, age_work_fn);
static K_WORK_DELAYABLE_DEFINE(burst_end_work, burst_end_fn);

static void age_work_fn(struct k_work *w)
{
	ARG_UNUSED(w);
	k_mutex_lock(&lock, K_FOREVER);
	if (burst) {
		adv_update();
		k_work_reschedule(&age_work, K_MSEC(AGE_UPDATE_MS));
	}
	k_mutex_unlock(&lock);
}

static void burst_end_fn(struct k_work *w)
{
	ARG_UNUSED(w);
	k_mutex_lock(&lock, K_FOREVER);
	burst = false;
	if (mode == RADIO_NIGHT) {
		adv_start(ADV_SLOW_MS);
		scan_set(false);
	}
	k_mutex_unlock(&lock);
}

void radio_shock(int64_t shock_ms)
{
	k_mutex_lock(&lock, K_FOREVER);
	if (mode != RADIO_NIGHT) {
		k_mutex_unlock(&lock);
		return;
	}
	shock_at = shock_ms;
	burst = true;
	payload.shock_seq++;
	adv_start(ADV_FAST_MS);
	scan_set(true);
	k_work_reschedule(&age_work, K_MSEC(AGE_UPDATE_MS));
	k_work_reschedule(&burst_end_work, K_MSEC(SHOCK_BURST_MS));
	k_mutex_unlock(&lock);
}

/* ---------- Steuerung ---------- */

void radio_set_band_id(uint32_t band_id)
{
	k_mutex_lock(&lock, K_FOREVER);
	payload.band_id = sys_cpu_to_le32(band_id);
	if (band_id) {
		snprintf(name, sizeof(name), "CLINK-%u", band_id);
	} else {
		snprintf(name, sizeof(name), "CLINK-NEU");
	}
	k_mutex_unlock(&lock);
}

void radio_set_mode(enum radio_mode m)
{
	k_mutex_lock(&lock, K_FOREVER);
	mode = m;
	burst = false;
	switch (m) {
	case RADIO_NIGHT:
		adv_start(ADV_SLOW_MS);
		scan_set(false);
		break;
	case RADIO_CHARGING:
		scan_off();
		adv_start(ADV_SLOW_MS);
		break;
	case RADIO_OFF:
		scan_off();
		if (adv_on) {
			bt_le_adv_stop();
			adv_on = false;
		}
		break;
	}
	k_mutex_unlock(&lock);
}

void radio_resume(void)
{
	k_mutex_lock(&lock, K_FOREVER);
	adv_on = false; /* durch die Verbindung beendet */
	if (mode != RADIO_OFF) {
		adv_start(burst ? ADV_FAST_MS : ADV_SLOW_MS);
	}
	k_mutex_unlock(&lock);
}

int radio_init(radio_adv_cb cb)
{
	adv_cb = cb;
	return 0;
}
```

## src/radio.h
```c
/* Bluetooth: eigenes Advertising senden und andere Bänder empfangen. */
#ifndef CLINK_RADIO_H
#define CLINK_RADIO_H

#include <stdint.h>
#include "proto.h"

enum radio_mode {
	RADIO_OFF,
	RADIO_NIGHT,    /* Tanzfläche: senden + zuhören */
	RADIO_CHARGING, /* Ladekontakte: nur auslesbar, keine Begegnungen */
};

typedef void (*radio_adv_cb)(int64_t now_ms, const struct clink_adv *adv, int8_t rssi);

int radio_init(radio_adv_cb cb);
void radio_set_band_id(uint32_t band_id);
void radio_set_mode(enum radio_mode mode);
/* Eigener Stoß: kurz schnell senden (mit Alter des Stoßes) und dicht zuhören. */
void radio_shock(int64_t shock_ms);
/* Nach Verbindungsende wieder senden. */
void radio_resume(void);

#endif
```
